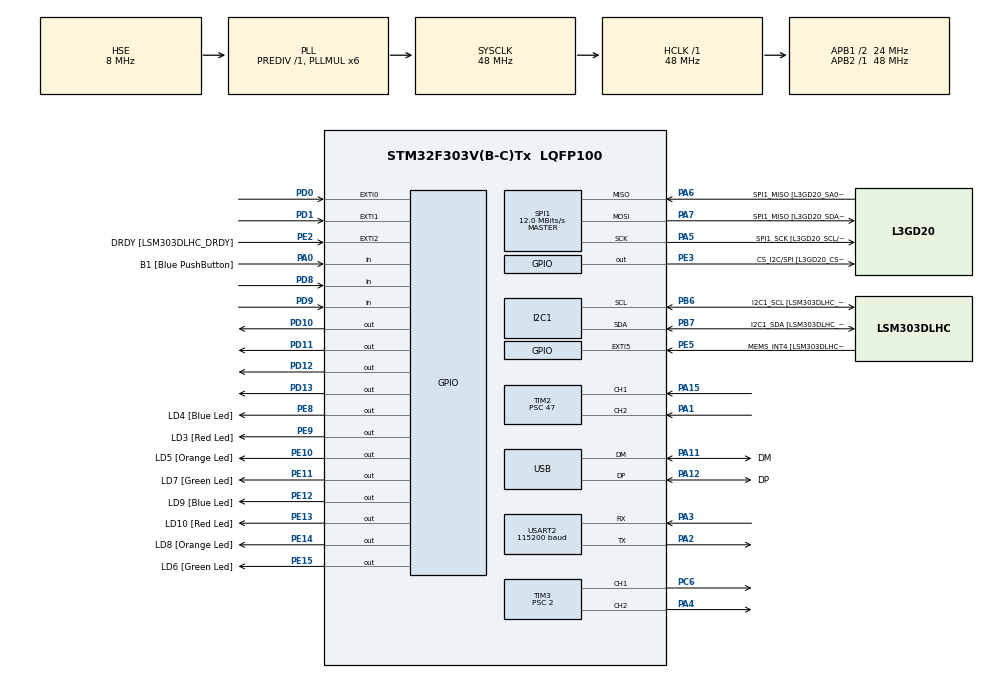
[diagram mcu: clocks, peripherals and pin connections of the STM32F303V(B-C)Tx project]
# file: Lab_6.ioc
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I2C1.Timing=0x2000090E
I2C1.Timing-I2C=0x2000090E
Mcu.Family=STM32F3
Mcu.Name=STM32F303V(B-C)Tx
Mcu.Package=LQFP100
NVIC.EXTI0_IRQn=true\:0\:0\:false\:false\:true\:true\:true\:true
NVIC.PriorityGroup=NVIC_PRIORITYGROUP_0
NVIC.TIM2_IRQn=true\:0\:0\:false\:false\:true\:true\:true\:true
PA0.GPIO_Label=B1 [Blue PushButton]
PA0.Signal=GPIO_Input
PA1.Signal=S_TIM2_CH2
PA11.GPIO_Label=DM
PA11.Mode=Device
PA11.Signal=USB_DM
PA12.GPIO_Label=DP
PA12.Mode=Device
PA12.Signal=USB_DP
PA13.GPIO_Label=SWDIO
PA13.Mode=Serial_Wire
PA13.Signal=SYS_JTMS-SWDIO
PA14.GPIO_Label=SWCLK
PA14.Mode=Serial_Wire
PA14.Signal=SYS_JTCK-SWCLK
PA15.Signal=S_TIM2_CH1_ETR
PA2.Mode=Asynchronous
PA2.Signal=USART2_TX
PA3.Mode=Asynchronous
PA3.Signal=USART2_RX
PA4.Signal=S_TIM3_CH2
PA5.GPIO_Label=SPI1_SCK [L3GD20_SCL/SPC]
PA5.Mode=Full_Duplex_Master
PA5.Signal=SPI1_SCK
PA6.GPIO_Label=SPI1_MISO [L3GD20_SA0/SDO]
PA6.Mode=Full_Duplex_Master
PA6.Signal=SPI1_MISO
PA7.GPIO_Label=SPI1_MISO [L3GD20_SDA/SDI/SDO]
PA7.Mode=Full_Duplex_Master
PA7.Signal=SPI1_MOSI
PB3.GPIO_Label=SWO
PB3.Signal=SYS_JTDO-TRACESWO
PB6.GPIO_Label=I2C1_SCL [LSM303DLHC_SCL]
PB6.GPIO_Pu=GPIO_PULLUP
PB6.Mode=I2C
PB6.Signal=I2C1_SCL
PB7.GPIO_Label=I2C1_SDA [LSM303DLHC_SDA]
PB7.GPIO_Pu=GPIO_PULLUP
PB7.Mode=I2C
PB7.Signal=I2C1_SDA
PC14-OSC32_IN.GPIO_Label=OSC32_IN
PC14-OSC32_IN.Signal=RCC_OSC32_IN
PC15-OSC32_OUT.GPIO_Label=OSC32_OUT
PC15-OSC32_OUT.Signal=RCC_OSC32_OUT
PC6.Signal=S_TIM3_CH1
PD0.GPIO_ModeDefaultEXTI=GPIO_MODE_IT_RISING
PD0.Signal=GPXTI0
PD1.Signal=GPXTI1
PD10.Signal=GPIO_Output
PD11.Signal=GPIO_Output
PD12.Signal=GPIO_Output
PD13.Signal=GPIO_Output
PD8.Signal=GPIO_Input
PD9.Signal=GPIO_Input
PE10.GPIO_Label=LD5 [Orange Led]
PE10.Signal=GPIO_Output
PE11.GPIO_Label=LD7 [Green Led]
PE11.Signal=GPIO_Output
PE12.GPIO_Label=LD9 [Blue Led]
PE12.Signal=GPIO_Output
PE13.GPIO_Label=LD10 [Red Led]
PE13.Signal=GPIO_Output
PE14.GPIO_Label=LD8 [Orange Led]
PE14.Signal=GPIO_Output
PE15.GPIO_Label=LD6 [Green Led]
PE15.Signal=GPIO_Output
PE2.GPIO_Label=DRDY [LSM303DLHC_DRDY]
PE2.GPIO_ModeDefaultEXTI=GPIO_MODE_EVT_RISING
PE2.Signal=GPXTI2
PE3.GPIO_Label=CS_I2C/SPI [L3GD20_CS_I2C/SPI]
PE3.Signal=GPIO_Output
PE5.GPIO_Label=MEMS_INT4 [LSM303DLHC_INT2]
PE5.GPIO_ModeDefaultEXTI=GPIO_MODE_EVT_RISING
PE5.Signal=GPXTI5
PE8.GPIO_Label=LD4 [Blue Led]
PE8.Signal=GPIO_Output
PE9.GPIO_Label=LD3 [Red Led]
PE9.Signal=GPIO_Output
PF0-OSC_IN.GPIO_Label=OSC_IN
PF0-OSC_IN.Mode=HSE-External-Clock-Source
PF0-OSC_IN.Signal=RCC_OSC_IN
PF1-OSC_OUT.GPIO_Label=OSC_OUT
PF1-OSC_OUT.Signal=RCC_OSC_OUT
ProjectManager.HeapSize=0x200
ProjectManager.StackSize=0x400
ProjectManager.TargetToolchain=CMake
RCC.AHBFreq_Value=48000000
RCC.APB1CLKDivider=RCC_HCLK_DIV2
RCC.APB1Freq_Value=24000000
RCC.APB1TimFreq_Value=48000000
RCC.APB2Freq_Value=48000000
RCC.APB2TimFreq_Value=48000000
RCC.CortexFreq_Value=48000000
RCC.HCLKFreq_Value=48000000
RCC.HSE_VALUE=8000000
RCC.HSI_VALUE=8000000
RCC.LSE_VALUE=32768
RCC.PLLMUL=RCC_PLL_MUL6
RCC.SYSCLKFreq_VALUE=48000000
RCC.SYSCLKSourceVirtual=RCC_SYSCLKSOURCE_PLLCLK
RCC.USBFreq_Value=48000000
SH.S_TIM2_CH1_ETR.0=TIM2_CH1,Input_Capture1_from_TI1
SH.S_TIM2_CH2.0=TIM2_CH2,Input_Capture2_from_TI2
SH.S_TIM3_CH1.0=TIM3_CH1,PWM Generation1 CH1
SH.S_TIM3_CH2.0=TIM3_CH2,PWM Generation2 CH2
SPI1.BaudRatePrescaler=SPI_BAUDRATEPRESCALER_4
SPI1.BaudRatePrescaler-Full_Duplex_Master=SPI_BAUDRATEPRESCALER_2
SPI1.CalculateBaudRate=12.0 MBits/s
SPI1.CalculateBaudRate-Full_Duplex_Master=24.0 MBits/s
SPI1.Direction=SPI_DIRECTION_2LINES
SPI1.Mode=SPI_MODE_MASTER
SPI1.Mode-Full_Duplex_Master=SPI_MODE_MASTER
SPI1.VirtualType=VM_MASTER
TIM2.Channel-Input_Capture1_from_TI1=TIM_CHANNEL_1
TIM2.Channel-Input_Capture2_from_TI2=TIM_CHANNEL_2
TIM2.Prescaler=47
TIM3.Channel-PWM\ Generation1\ CH1=TIM_CHANNEL_1
TIM3.Channel-PWM\ Generation2\ CH2=TIM_CHANNEL_2
TIM3.Period=15999
TIM3.Prescaler=2
USART2.BaudRate=115200
USART2.VirtualMode-Asynchronous=VM_ASYNC
VP_TIM2_VS_ClockSourceINT.Mode=Internal
VP_TIM3_VS_ClockSourceINT.Mode=Internal
board=STM32F3DISCOVERY

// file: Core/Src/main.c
/* USER CODE BEGIN Header */
/**
  ******************************************************************************
  * @file           : main.c
  * @brief          : Main program body
  ******************************************************************************
  * @attention
  *
  * Copyright (c) 2026 STMicroelectronics.
  * All rights reserved.
  *
  * This software is licensed under terms that can be found in the LICENSE file
  * in the root directory of this software component.
  * If no LICENSE file comes with this software, it is provided AS-IS.
  *
  ******************************************************************************
  */
/* USER CODE END Header */
#include "main.h"

/* USER CODE BEGIN Includes */
#include "stdarg.h"
#include "stdio.h"
#include <strings.h>
#include <string.h>
#include <stdbool.h>

/* USER CODE END Includes */

I2C_HandleTypeDef hi2c1;

SPI_HandleTypeDef hspi1;

TIM_HandleTypeDef htim2;
TIM_HandleTypeDef htim3;

UART_HandleTypeDef huart2;

PCD_HandleTypeDef hpcd_USB_FS;

void SystemClock_Config(void);
static void MX_GPIO_Init(void);
static void MX_I2C1_Init(void);
static void MX_SPI1_Init(void);
static void MX_TIM2_Init(void);
static void MX_USART2_UART_Init(void);
static void MX_USB_PCD_Init(void);
static void MX_TIM3_Init(void);

/* USER CODE BEGIN 0 */

//PrintF from lab 2
void myPrintf(const char* fmt, ...)
{
  char buffer[512];

  // Step 2: Initialize the variadic argument list.
  va_list args;
  va_start(args, fmt);

  // Step 3: Format the final string using vsnprintf.
  // vsnprintf is "v" (takes a va_list) and "n" (prevents buffer overflow).
  int length = vsnprintf(buffer, sizeof(buffer), fmt, args);

  // Clean up the variadic argument list
  va_end(args);

  // Step 4: Transmit the string over UART using HAL_UART_Transmit.
  // We cast buffer to (uint8_t*) as required by the HAL library.
  if (length > 0) {
      HAL_UART_Transmit(&huart2, (uint8_t*)buffer, (uint16_t)length, HAL_MAX_DELAY);
  }
};

// Task 1
// #define SAMPLE_SIZE 30
// int pulse = 0;
// uint8_t timer = 0;
// int state = 0;
// uint32_t results_array[SAMPLE_SIZE];
// int sampleIndex = 0;
// bool print_flag = false;
// float averageTime;
// // Let State 0 be starting
// // Let State 1 be value collection

// void HAL_GPIO_EXTI_Callback(uint16_t GPIO_Pin)
// {
//   if (GPIO_Pin == GPIO_PIN_0){
//     if (state == 0) {
//       HAL_TIM_Base_Start(&htim2);
//       __HAL_TIM_SET_COUNTER(&htim2, 0);
//       state = 1;
//       print_flag = false;
//     }
//     else if (state == 1) {
//       results_array[sampleIndex] = __HAL_TIM_GetCounter(&htim2);
//       __HAL_TIM_SET_COUNTER(&htim2, 0);
//       sampleIndex ++;
//       if (sampleIndex >= SAMPLE_SIZE) {
//         sampleIndex = 0;
//         print_flag = true;
//         __HAL_TIM_SET_COUNTER(&htim2, 0);
//       }
//     }
//   }
// };

// Task 2
// int state = 0;
// uint32_t lastCapture;
// uint32_t currentCapture;
// float period;
// bool printFlag = false;
// void HAL_TIM_IC_CaptureCallback(TIM_HandleTypeDef *htim) {
//   if (htim->Instance == TIM2){
//     if (state == 0) {
//       lastCapture = HAL_TIM_ReadCapturedValue(htim, TIM_CHANNEL_1);
//       state = 1;
//     }
//     else if (state == 1){
//       currentCapture = HAL_TIM_ReadCapturedValue(htim, TIM_CHANNEL_1);
//       period = (float)currentCapture -(float)(lastCapture);  // Protecting it from overflow
//       lastCapture = currentCapture;
//       printFlag = true;
//       myPrintf("Period: %f, Cal Freq: %f\r\n", (float)period, (float)(1000000/period));
//     }
//   }
// }

//Code from Lab 5
void Update_Motor_Speed(TIM_HandleTypeDef *htim, uint32_t channel,
                        GPIO_TypeDef* Port, uint16_t PinA, uint16_t PinB,
                        float *speed, float *update_Factor, bool *dir)
{
    // 1. Boundary Checks & Direction Logic
    if (*speed >= 100.0f) {
        *speed = 100.0f;
        *update_Factor = -1.0f; // Start Ramping Down
    }

    if (*speed <= 0.0f) {
        *speed = 0.0f;
        *update_Factor = 1.0f;  // Start Ramping Up

        // Toggle direction state
        *dir = !(*dir);

        // Update H-Bridge Pins for this specific motor
        // If dir is true: PinA = SET, PinB = RESET (Forward)
        // If dir is false: PinA = RESET, PinB = SET (Reverse)
        HAL_GPIO_WritePin(Port, PinA, (*dir) ? GPIO_PIN_SET : GPIO_PIN_RESET);
        HAL_GPIO_WritePin(Port, PinB, (*dir) ? GPIO_PIN_RESET : GPIO_PIN_SET);
    }

    // 2. CCR Calculation (Assuming ARR = 15999)
    uint32_t CCR_Value = (uint32_t)((*speed / 100.0f) * 16000.0f);
    if(CCR_Value > 15999) CCR_Value = 15999;

    __HAL_TIM_SET_COMPARE(htim, channel, CCR_Value);

    // 3. Apply the increment
    *speed += *update_Factor;
}

// // Task 3
// float getMotorSpeedPolling(GPIO_TypeDef* GPIOx, uint16_t GPIO_Pin) {
//     uint32_t capturedTicks = 0;
//     float frequency = 0;

//     // 1. Wait for pin to be HIGH (to avoid starting mid-edge)
//     while (HAL_GPIO_ReadPin(GPIOx, GPIO_Pin) == GPIO_PIN_RESET);

//     // 2. Poll for first falling edge
//     while (HAL_GPIO_ReadPin(GPIOx, GPIO_Pin) == GPIO_PIN_SET);

//     // 3. Start measurement
//     __HAL_TIM_SET_COUNTER(&htim2, 0);
//     HAL_TIM_Base_Start(&htim2);

//     // 4. Wait for pin to go HIGH again
//     while(HAL_GPIO_ReadPin(GPIOx, GPIO_Pin) == GPIO_PIN_RESET);

//     // 5. Poll for second falling edge
//     while(HAL_GPIO_ReadPin(GPIOx, GPIO_Pin) == GPIO_PIN_SET);

//     // 6. Stop and calculate
//     capturedTicks = __HAL_TIM_GET_COUNTER(&htim2);
//     HAL_TIM_Base_Stop(&htim2);

//     if (capturedTicks > 0) {
//         // Frequency = Timer Freq (e.g., 1,000,000) / Ticks
//         frequency = 1000000.0f / capturedTicks;
//     }

//     return frequency;
// }

//Task 4
uint32_t last_capture_R = 0;
uint32_t last_capture_L = 0;
float frequency_R = 0;
float frequency_L = 0;

void HAL_TIM_IC_CaptureCallback(TIM_HandleTypeDef *htim)
{
    if (htim->Instance == TIM2)
    {
        uint32_t current_capture;

        // --- RIGHT MOTOR (PA15 / Channel 1) ---
        if (htim->Channel == HAL_TIM_ACTIVE_CHANNEL_1)
        {
            current_capture = HAL_TIM_ReadCapturedValue(htim, TIM_CHANNEL_1);

            if (current_capture > last_capture_R) {
                frequency_R = 1000000.0f / (current_capture - last_capture_R);
            } else if (current_capture < last_capture_R) {
                // Handle rare 32-bit wrap-around
                frequency_R = 1000000.0f / ((0xFFFFFFFF - last_capture_R) + current_capture);
            }
            last_capture_R = current_capture;
        }

        // --- LEFT MOTOR (PA1 / Channel 2) ---
        if (htim->Channel == HAL_TIM_ACTIVE_CHANNEL_2)
        {
            current_capture = HAL_TIM_ReadCapturedValue(htim, TIM_CHANNEL_2);

            if (current_capture > last_capture_L) {
                frequency_L = 1000000.0f / (current_capture - last_capture_L);
            } else if (current_capture < last_capture_L) {
                frequency_L = 1000000.0f / ((0xFFFFFFFF - last_capture_L) + current_capture);
            }
            last_capture_L = current_capture;
        }
    }
}

float motor1_speed = 0.0f;
float motor1_factor = 1.0f;
bool motor1_dir = true;

float motor2_speed = 0.0f;
float motor2_factor = 1.0f;
bool motor2_dir = true;
/* USER CODE END 0 */

int main(void)
{

  /* MCU Configuration--------------------------------------------------------*/

  /* Reset of all peripherals, Initializes the Flash interface and the Systick. */
  HAL_Init();

  /* Configure the system clock */
  SystemClock_Config();

  /* Initialize all configured peripherals */
  MX_GPIO_Init();
  MX_I2C1_Init();
  MX_SPI1_Init();
  MX_TIM2_Init();
  MX_USART2_UART_Init();
  MX_USB_PCD_Init();
  MX_TIM3_Init();
  /* USER CODE BEGIN 2 */
  HAL_TIM_IC_Start_IT(&htim2, TIM_CHANNEL_1); // Right Motor (PA15)
  HAL_TIM_IC_Start_IT(&htim2, TIM_CHANNEL_2); // Left Motor (PA1)
  HAL_TIM_IC_Start_IT(&htim3, TIM_CHANNEL_1);
  HAL_TIM_IC_Start_IT(&htim3, TIM_CHANNEL_2);
  int ppr = 330;
  /* USER CODE END 2 */

  /* Infinite loop */
  while (1)
  {

    /* USER CODE BEGIN 3 */

    // Task 1
    // if (print_flag){
    //       for (int i = 0; i < SAMPLE_SIZE; i++) {
    //           averageTime += results_array[i];
    //       }
    //       averageTime = averageTime / SAMPLE_SIZE;
    //       averageTime = (4800000.0f / (averageTime));
    //       myPrintf("Freq: %f Hz - With Error Compensation: %f \r\n", averageTime, averageTime*1.0342f);

    // }
    // HAL_Delay(100);

    // Task 3
    // HAL_GPIO_WritePin(GPIOD, GPIO_PIN_10, GPIO_PIN_SET);   // R Forward
    // HAL_GPIO_WritePin(GPIOD, GPIO_PIN_11, GPIO_PIN_RESET);

    // // 2. Set constant speed (e.g., 50%)
    // uint32_t speedValue = (uint32_t)(0.50f * 15999);
    // __HAL_TIM_SET_COMPARE(&htim3, TIM_CHANNEL_1, speedValue);
    // __HAL_TIM_SET_COMPARE(&htim3, TIM_CHANNEL_2, speedValue);

    // // Get actual speed from encoder (PD8)
    // float actualFreqRight = getMotorSpeedPolling(GPIOD, GPIO_PIN_8);
    // myPrintf("Freq Of Right Motor: %f\r\n ", actualFreqRight);

    //Task 4
    // Motor 1: Right Dir pins(PD10, PD11)
    Update_Motor_Speed(&htim3, TIM_CHANNEL_1,
                      GPIOD, GPIO_PIN_10, GPIO_PIN_11,
                      &motor1_speed, &motor1_factor, &motor1_dir);

    // Motor 2: Left Dir pins(PD12, PD13)
    Update_Motor_Speed(&htim3, TIM_CHANNEL_2,
                      GPIOD, GPIO_PIN_12, GPIO_PIN_13,
                      &motor2_speed, &motor2_factor, &motor2_dir);

    myPrintf("RPM Of Right Motor: %f, RPM Of Left Motor: %f\r\n ", frequency_R*60/ppr, frequency_L*60/ppr);
    HAL_Delay(20);

  }
  /* USER CODE END 3 */
}

void SystemClock_Config(void)
{
  RCC_OscInitTypeDef RCC_OscInitStruct = {0};
  RCC_ClkInitTypeDef RCC_ClkInitStruct = {0};
  RCC_PeriphCLKInitTypeDef PeriphClkInit = {0};

  /** Initializes the RCC Oscillators according to the specified parameters
  * in the RCC_OscInitTypeDef structure.
  */
  RCC_OscInitStruct.OscillatorType = RCC_OSCILLATORTYPE_HSI|RCC_OSCILLATORTYPE_HSE;
  RCC_OscInitStruct.HSEState = RCC_HSE_BYPASS;
  RCC_OscInitStruct.HSEPredivValue = RCC_HSE_PREDIV_DIV1;
  RCC_OscInitStruct.HSIState = RCC_HSI_ON;
  RCC_OscInitStruct.HSICalibrationValue = RCC_HSICALIBRATION_DEFAULT;
  RCC_OscInitStruct.PLL.PLLState = RCC_PLL_ON;
  RCC_OscInitStruct.PLL.PLLSource = RCC_PLLSOURCE_HSE;
  RCC_OscInitStruct.PLL.PLLMUL = RCC_PLL_MUL6;
  if (HAL_RCC_OscConfig(&RCC_OscInitStruct) != HAL_OK)
  {
    Error_Handler();
  }

  /** Initializes the CPU, AHB and APB buses clocks
  */
  RCC_ClkInitStruct.ClockType = RCC_CLOCKTYPE_HCLK|RCC_CLOCKTYPE_SYSCLK
                              |RCC_CLOCKTYPE_PCLK1|RCC_CLOCKTYPE_PCLK2;
  RCC_ClkInitStruct.SYSCLKSource = RCC_SYSCLKSOURCE_PLLCLK;
  RCC_ClkInitStruct.AHBCLKDivider = RCC_SYSCLK_DIV1;
  RCC_ClkInitStruct.APB1CLKDivider = RCC_HCLK_DIV2;
  RCC_ClkInitStruct.APB2CLKDivider = RCC_HCLK_DIV1;

  if (HAL_RCC_ClockConfig(&RCC_ClkInitStruct, FLASH_LATENCY_1) != HAL_OK)
  {
    Error_Handler();
  }
  PeriphClkInit.PeriphClockSelection = RCC_PERIPHCLK_USB|RCC_PERIPHCLK_USART2
                              |RCC_PERIPHCLK_I2C1;
  PeriphClkInit.Usart2ClockSelection = RCC_USART2CLKSOURCE_PCLK1;
  PeriphClkInit.I2c1ClockSelection = RCC_I2C1CLKSOURCE_HSI;
  PeriphClkInit.USBClockSelection = RCC_USBCLKSOURCE_PLL;
  if (HAL_RCCEx_PeriphCLKConfig(&PeriphClkInit) != HAL_OK)
  {
    Error_Handler();
  }
}

static void MX_I2C1_Init(void)
{

  hi2c1.Instance = I2C1;
  hi2c1.Init.Timing = 0x2000090E;
  hi2c1.Init.OwnAddress1 = 0;
  hi2c1.Init.AddressingMode = I2C_ADDRESSINGMODE_7BIT;
  hi2c1.Init.DualAddressMode = I2C_DUALADDRESS_DISABLE;
  hi2c1.Init.OwnAddress2 = 0;
  hi2c1.Init.OwnAddress2Masks = I2C_OA2_NOMASK;
  hi2c1.Init.GeneralCallMode = I2C_GENERALCALL_DISABLE;
  hi2c1.Init.NoStretchMode = I2C_NOSTRETCH_DISABLE;
  if (HAL_I2C_Init(&hi2c1) != HAL_OK)
  {
    Error_Handler();
  }

  /** Configure Analogue filter
  */
  if (HAL_I2CEx_ConfigAnalogFilter(&hi2c1, I2C_ANALOGFILTER_ENABLE) != HAL_OK)
  {
    Error_Handler();
  }

  /** Configure Digital filter
  */
  if (HAL_I2CEx_ConfigDigitalFilter(&hi2c1, 0) != HAL_OK)
  {
    Error_Handler();
  }

}

static void MX_SPI1_Init(void)
{

  /* SPI1 parameter configuration*/
  hspi1.Instance = SPI1;
  hspi1.Init.Mode = SPI_MODE_MASTER;
  hspi1.Init.Direction = SPI_DIRECTION_2LINES;
  hspi1.Init.DataSize = SPI_DATASIZE_4BIT;
  hspi1.Init.CLKPolarity = SPI_POLARITY_LOW;
  hspi1.Init.CLKPhase = SPI_PHASE_1EDGE;
  hspi1.Init.NSS = SPI_NSS_SOFT;
  hspi1.Init.BaudRatePrescaler = SPI_BAUDRATEPRESCALER_4;
  hspi1.Init.FirstBit = SPI_FIRSTBIT_MSB;
  hspi1.Init.TIMode = SPI_TIMODE_DISABLE;
  hspi1.Init.CRCCalculation = SPI_CRCCALCULATION_DISABLE;
  hspi1.Init.CRCPolynomial = 7;
  hspi1.Init.CRCLength = SPI_CRC_LENGTH_DATASIZE;
  hspi1.Init.NSSPMode = SPI_NSS_PULSE_ENABLE;
  if (HAL_SPI_Init(&hspi1) != HAL_OK)
  {
    Error_Handler();
  }

}

static void MX_TIM2_Init(void)
{

  TIM_ClockConfigTypeDef sClockSourceConfig = {0};
  TIM_MasterConfigTypeDef sMasterConfig = {0};
  TIM_IC_InitTypeDef sConfigIC = {0};

  htim2.Instance = TIM2;
  htim2.Init.Prescaler = 47;
  htim2.Init.CounterMode = TIM_COUNTERMODE_UP;
  htim2.Init.Period = 4294967295;
  htim2.Init.ClockDivision = TIM_CLOCKDIVISION_DIV1;
  htim2.Init.AutoReloadPreload = TIM_AUTORELOAD_PRELOAD_DISABLE;
  if (HAL_TIM_Base_Init(&htim2) != HAL_OK)
  {
    Error_Handler();
  }
  sClockSourceConfig.ClockSource = TIM_CLOCKSOURCE_INTERNAL;
  if (HAL_TIM_ConfigClockSource(&htim2, &sClockSourceConfig) != HAL_OK)
  {
    Error_Handler();
  }
  if (HAL_TIM_IC_Init(&htim2) != HAL_OK)
  {
    Error_Handler();
  }
  sMasterConfig.MasterOutputTrigger = TIM_TRGO_RESET;
  sMasterConfig.MasterSlaveMode = TIM_MASTERSLAVEMODE_DISABLE;
  if (HAL_TIMEx_MasterConfigSynchronization(&htim2, &sMasterConfig) != HAL_OK)
  {
    Error_Handler();
  }
  sConfigIC.ICPolarity = TIM_INPUTCHANNELPOLARITY_RISING;
  sConfigIC.ICSelection = TIM_ICSELECTION_DIRECTTI;
  sConfigIC.ICPrescaler = TIM_ICPSC_DIV1;
  sConfigIC.ICFilter = 0;
  if (HAL_TIM_IC_ConfigChannel(&htim2, &sConfigIC, TIM_CHANNEL_1) != HAL_OK)
  {
    Error_Handler();
  }
  if (HAL_TIM_IC_ConfigChannel(&htim2, &sConfigIC, TIM_CHANNEL_2) != HAL_OK)
  {
    Error_Handler();
  }

}

static void MX_TIM3_Init(void)
{

  TIM_ClockConfigTypeDef sClockSourceConfig = {0};
  TIM_MasterConfigTypeDef sMasterConfig = {0};
  TIM_OC_InitTypeDef sConfigOC = {0};

  htim3.Instance = TIM3;
  htim3.Init.Prescaler = 2;
  htim3.Init.CounterMode = TIM_COUNTERMODE_UP;
  htim3.Init.Period = 15999;
  htim3.Init.ClockDivision = TIM_CLOCKDIVISION_DIV1;
  htim3.Init.AutoReloadPreload = TIM_AUTORELOAD_PRELOAD_DISABLE;
  if (HAL_TIM_Base_Init(&htim3) != HAL_OK)
  {
    Error_Handler();
  }
  sClockSourceConfig.ClockSource = TIM_CLOCKSOURCE_INTERNAL;
  if (HAL_TIM_ConfigClockSource(&htim3, &sClockSourceConfig) != HAL_OK)
  {
    Error_Handler();
  }
  if (HAL_TIM_PWM_Init(&htim3) != HAL_OK)
  {
    Error_Handler();
  }
  sMasterConfig.MasterOutputTrigger = TIM_TRGO_RESET;
  sMasterConfig.MasterSlaveMode = TIM_MASTERSLAVEMODE_DISABLE;
  if (HAL_TIMEx_MasterConfigSynchronization(&htim3, &sMasterConfig) != HAL_OK)
  {
    Error_Handler();
  }
  sConfigOC.OCMode = TIM_OCMODE_PWM1;
  sConfigOC.Pulse = 0;
  sConfigOC.OCPolarity = TIM_OCPOLARITY_HIGH;
  sConfigOC.OCFastMode = TIM_OCFAST_DISABLE;
  if (HAL_TIM_PWM_ConfigChannel(&htim3, &sConfigOC, TIM_CHANNEL_1) != HAL_OK)
  {
    Error_Handler();
  }
  if (HAL_TIM_PWM_ConfigChannel(&htim3, &sConfigOC, TIM_CHANNEL_2) != HAL_OK)
  {
    Error_Handler();
  }
  HAL_TIM_MspPostInit(&htim3);

}

static void MX_USART2_UART_Init(void)
{

  huart2.Instance = USART2;
  huart2.Init.BaudRate = 115200;
  huart2.Init.WordLength = UART_WORDLENGTH_8B;
  huart2.Init.StopBits = UART_STOPBITS_1;
  huart2.Init.Parity = UART_PARITY_NONE;
  huart2.Init.Mode = UART_MODE_TX_RX;
  huart2.Init.HwFlowCtl = UART_HWCONTROL_NONE;
  huart2.Init.OverSampling = UART_OVERSAMPLING_16;
  huart2.Init.OneBitSampling = UART_ONE_BIT_SAMPLE_DISABLE;
  huart2.AdvancedInit.AdvFeatureInit = UART_ADVFEATURE_NO_INIT;
  if (HAL_UART_Init(&huart2) != HAL_OK)
  {
    Error_Handler();
  }

}

static void MX_USB_PCD_Init(void)
{

  hpcd_USB_FS.Instance = USB;
  hpcd_USB_FS.Init.dev_endpoints = 8;
  hpcd_USB_FS.Init.speed = PCD_SPEED_FULL;
  hpcd_USB_FS.Init.phy_itface = PCD_PHY_EMBEDDED;
  hpcd_USB_FS.Init.low_power_enable = DISABLE;
  hpcd_USB_FS.Init.battery_charging_enable = DISABLE;
  if (HAL_PCD_Init(&hpcd_USB_FS) != HAL_OK)
  {
    Error_Handler();
  }

}

static void MX_GPIO_Init(void)
{
  GPIO_InitTypeDef GPIO_InitStruct = {0};

  /* GPIO Ports Clock Enable */
  __HAL_RCC_GPIOE_CLK_ENABLE();
  __HAL_RCC_GPIOC_CLK_ENABLE();
  __HAL_RCC_GPIOF_CLK_ENABLE();
  __HAL_RCC_GPIOA_CLK_ENABLE();
  __HAL_RCC_GPIOD_CLK_ENABLE();
  __HAL_RCC_GPIOB_CLK_ENABLE();

  /*Configure GPIO pin Output Level */
  HAL_GPIO_WritePin(GPIOE, CS_I2C_SPI_Pin|LD4_Pin|LD3_Pin|LD5_Pin
                          |LD7_Pin|LD9_Pin|LD10_Pin|LD8_Pin
                          |LD6_Pin, GPIO_PIN_RESET);

  /*Configure GPIO pin Output Level */
  HAL_GPIO_WritePin(GPIOD, GPIO_PIN_10|GPIO_PIN_11|GPIO_PIN_12|GPIO_PIN_13, GPIO_PIN_RESET);

  /*Configure GPIO pins : DRDY_Pin MEMS_INT4_Pin */
  GPIO_InitStruct.Pin = DRDY_Pin|MEMS_INT4_Pin;
  GPIO_InitStruct.Mode = GPIO_MODE_EVT_RISING;
  GPIO_InitStruct.Pull = GPIO_NOPULL;
  HAL_GPIO_Init(GPIOE, &GPIO_InitStruct);

  /*Configure GPIO pins : CS_I2C_SPI_Pin LD4_Pin LD3_Pin LD5_Pin
                           LD7_Pin LD9_Pin LD10_Pin LD8_Pin
                           LD6_Pin */
  GPIO_InitStruct.Pin = CS_I2C_SPI_Pin|LD4_Pin|LD3_Pin|LD5_Pin
                          |LD7_Pin|LD9_Pin|LD10_Pin|LD8_Pin
                          |LD6_Pin;
  GPIO_InitStruct.Mode = GPIO_MODE_OUTPUT_PP;
  GPIO_InitStruct.Pull = GPIO_NOPULL;
  GPIO_InitStruct.Speed = GPIO_SPEED_FREQ_LOW;
  HAL_GPIO_Init(GPIOE, &GPIO_InitStruct);

  /*Configure GPIO pin : B1_Pin */
  GPIO_InitStruct.Pin = B1_Pin;
  GPIO_InitStruct.Mode = GPIO_MODE_INPUT;
  GPIO_InitStruct.Pull = GPIO_NOPULL;
  HAL_GPIO_Init(B1_GPIO_Port, &GPIO_InitStruct);

  /*Configure GPIO pins : PD8 PD9 */
  GPIO_InitStruct.Pin = GPIO_PIN_8|GPIO_PIN_9;
  GPIO_InitStruct.Mode = GPIO_MODE_INPUT;
  GPIO_InitStruct.Pull = GPIO_NOPULL;
  HAL_GPIO_Init(GPIOD, &GPIO_InitStruct);

  /*Configure GPIO pins : PD10 PD11 PD12 PD13 */
  GPIO_InitStruct.Pin = GPIO_PIN_10|GPIO_PIN_11|GPIO_PIN_12|GPIO_PIN_13;
  GPIO_InitStruct.Mode = GPIO_MODE_OUTPUT_PP;
  GPIO_InitStruct.Pull = GPIO_NOPULL;
  GPIO_InitStruct.Speed = GPIO_SPEED_FREQ_LOW;
  HAL_GPIO_Init(GPIOD, &GPIO_InitStruct);

  /*Configure GPIO pins : PD0 PD1 */
  GPIO_InitStruct.Pin = GPIO_PIN_0|GPIO_PIN_1;
  GPIO_InitStruct.Mode = GPIO_MODE_IT_RISING;
  GPIO_InitStruct.Pull = GPIO_NOPULL;
  HAL_GPIO_Init(GPIOD, &GPIO_InitStruct);

  /* EXTI interrupt init*/
  HAL_NVIC_SetPriority(EXTI0_IRQn, 0, 0);
  HAL_NVIC_EnableIRQ(EXTI0_IRQn);

}

void Error_Handler(void)
{
  __disable_irq();
  while (1)
  {
  }
}
